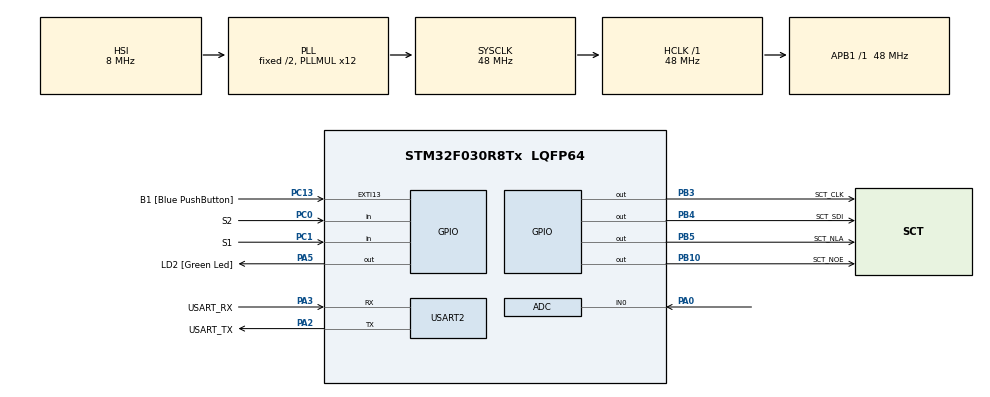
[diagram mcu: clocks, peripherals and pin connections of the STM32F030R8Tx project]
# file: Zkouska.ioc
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ADC.ContinuousConvMode=ENABLE
ADC.Overrun=ADC_OVR_DATA_OVERWRITTEN
ADC.SamplingTime=ADC_SAMPLETIME_239CYCLES_5
Mcu.Family=STM32F0
Mcu.Name=STM32F030R8Tx
Mcu.Package=LQFP64
NVIC.ADC1_IRQn=true\:0\:0\:false\:false\:true\:true\:true
PA0.Mode=IN0
PA0.Signal=ADC_IN0
PA13.GPIO_Label=TMS
PA13.Mode=Serial_Wire
PA13.Signal=SYS_SWDIO
PA14.GPIO_Label=TCK
PA14.Mode=Serial_Wire
PA14.Signal=SYS_SWCLK
PA2.GPIO_Label=USART_TX
PA2.GPIO_Mode=GPIO_MODE_AF_PP
PA2.GPIO_PuPd=GPIO_NOPULL
PA2.GPIO_Speed=GPIO_SPEED_FREQ_LOW
PA2.Mode=Asynchronous
PA2.Signal=USART2_TX
PA3.GPIO_Label=USART_RX
PA3.GPIO_Mode=GPIO_MODE_AF_PP
PA3.GPIO_PuPd=GPIO_NOPULL
PA3.GPIO_Speed=GPIO_SPEED_FREQ_LOW
PA3.Mode=Asynchronous
PA3.Signal=USART2_RX
PA5.GPIO_Label=LD2 [Green Led]
PA5.GPIO_Mode=GPIO_MODE_OUTPUT_PP
PA5.GPIO_PuPd=GPIO_NOPULL
PA5.GPIO_Speed=GPIO_SPEED_FREQ_LOW
PA5.Signal=GPIO_Output
PB10.GPIO_Label=SCT_NOE
PB10.Signal=GPIO_Output
PB3.GPIO_Label=SCT_CLK
PB3.Signal=GPIO_Output
PB4.GPIO_Label=SCT_SDI
PB4.Signal=GPIO_Output
PB5.GPIO_Label=SCT_NLA
PB5.Signal=GPIO_Output
PC0.GPIO_Label=S2
PC0.GPIO_PuPd=GPIO_PULLUP
PC0.Signal=GPIO_Input
PC1.GPIO_Label=S1
PC1.GPIO_PuPd=GPIO_PULLUP
PC1.Signal=GPIO_Input
PC13.GPIO_Label=B1 [Blue PushButton]
PC13.GPIO_ModeDefaultEXTI=GPIO_MODE_IT_FALLING
PC13.Signal=GPXTI13
PC14-OSC32_IN.Mode=LSE-External-Oscillator
PC14-OSC32_IN.Signal=RCC_OSC32_IN
PC15-OSC32_OUT.Mode=LSE-External-Oscillator
PC15-OSC32_OUT.Signal=RCC_OSC32_OUT
PF0-OSC_IN.Mode=HSE-External-Clock-Source
PF0-OSC_IN.Signal=RCC_OSC_IN
PF1-OSC_OUT.Signal=RCC_OSC_OUT
ProjectManager.HeapSize=0x200
ProjectManager.StackSize=0x400
ProjectManager.TargetToolchain=STM32CubeIDE
RCC.AHBFreq_Value=48000000
RCC.APB1Freq_Value=48000000
RCC.APB1TimFreq_Value=48000000
RCC.HCLKFreq_Value=48000000
RCC.PLLMUL=RCC_PLL_MUL12
RCC.SYSCLKFreq_VALUE=48000000
RCC.SYSCLKSource=RCC_SYSCLKSOURCE_PLLCLK
USART2.VirtualMode-Asynchronous=VM_ASYNC
board=NUCLEO-F030R8

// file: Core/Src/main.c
/* USER CODE BEGIN Header */
/**
  ******************************************************************************
  * @file           : main.c
  * @brief          : Main program body
  ******************************************************************************
  * @attention
  *
  * <h2><center>&copy; Copyright (c) 2022 STMicroelectronics.
  * All rights reserved.</center></h2>
  *
  * This software component is licensed by ST under BSD 3-Clause license,
  * the "License"; You may not use this file except in compliance with the
  * License. You may obtain a copy of the License at:
  *                        opensource.org/licenses/BSD-3-Clause
  *
  ******************************************************************************
  */
/* USER CODE END Header */
#include "main.h"

/* USER CODE BEGIN Includes */
#include "sct.h"

/* USER CODE END Includes */

ADC_HandleTypeDef hadc;

UART_HandleTypeDef huart2;

void SystemClock_Config(void);
static void MX_GPIO_Init(void);
static void MX_USART2_UART_Init(void);
static void MX_ADC_Init(void);

/* USER CODE BEGIN 0 */
static volatile uint32_t raw_pot;

void doprava()
{
	uint8_t bargraf = 0;
	uint32_t cislo=0;

	cislo=20+(raw_pot*(480+1))/4095;

	for(uint8_t i = 0; i < 9; i++)
	{
		sct_value(bargraf);
		HAL_Delay(cislo);

		bargraf++;
	}
}

void doleva()
{
	uint8_t bargraf = 9;
	uint32_t cislo=0;

	cislo=20+(raw_pot*(480+1))/4095;

	for(uint8_t i = 0; i < 9; i++)
	{
		sct_value(bargraf);
		HAL_Delay(cislo);

		bargraf--;
	}
}

static volatile uint32_t raw_pot;
void HAL_ADC_ConvCpltCallback(ADC_HandleTypeDef* hadc) // po prevodu vyvolany call back a zisk hodnoty
{
 raw_pot = HAL_ADC_GetValue(hadc);
}

/* USER CODE END 0 */

int main(void)
{

  /* MCU Configuration--------------------------------------------------------*/

  /* Reset of all peripherals, Initializes the Flash interface and the Systick. */
  HAL_Init();

  /* Configure the system clock */
  SystemClock_Config();

  /* Initialize all configured peripherals */
  MX_GPIO_Init();
  MX_USART2_UART_Init();
  MX_ADC_Init();
  /* USER CODE BEGIN 2 */

  sct_init();

  HAL_ADCEx_Calibration_Start(&hadc); // kalibrace
  HAL_ADC_Start_IT(&hadc); // volani preruseni po dokonceni prevodu

  /* USER CODE END 2 */

  /* Infinite loop */
  /* USER CODE BEGIN WHILE */
  while (1)
  {
	  static enum { DOPRAVA, DOLEVA} state = DOPRAVA;

	  if (HAL_GPIO_ReadPin(S1_GPIO_Port,S1_Pin)==0)
	  {

		  state = DOPRAVA;
	  }
	  else if (HAL_GPIO_ReadPin(S2_GPIO_Port,S2_Pin)==0)
	  {

		  state = DOLEVA;
	  }

	  if(state == DOPRAVA)
	  {
		  doprava();
	  }
	  else if(state == DOLEVA)
	  {
		  doleva();
	  }

    /* USER CODE END WHILE */

  }
}

void SystemClock_Config(void)
{
  RCC_OscInitTypeDef RCC_OscInitStruct = {0};
  RCC_ClkInitTypeDef RCC_ClkInitStruct = {0};

  /** Initializes the RCC Oscillators according to the specified parameters
  * in the RCC_OscInitTypeDef structure.
  */
  RCC_OscInitStruct.OscillatorType = RCC_OSCILLATORTYPE_HSI|RCC_OSCILLATORTYPE_HSI14;
  RCC_OscInitStruct.HSIState = RCC_HSI_ON;
  RCC_OscInitStruct.HSI14State = RCC_HSI14_ON;
  RCC_OscInitStruct.HSICalibrationValue = RCC_HSICALIBRATION_DEFAULT;
  RCC_OscInitStruct.HSI14CalibrationValue = 16;
  RCC_OscInitStruct.PLL.PLLState = RCC_PLL_ON;
  RCC_OscInitStruct.PLL.PLLSource = RCC_PLLSOURCE_HSI;
  RCC_OscInitStruct.PLL.PLLMUL = RCC_PLL_MUL12;
  RCC_OscInitStruct.PLL.PREDIV = RCC_PREDIV_DIV1;
  if (HAL_RCC_OscConfig(&RCC_OscInitStruct) != HAL_OK)
  {
    Error_Handler();
  }
  /** Initializes the CPU, AHB and APB buses clocks
  */
  RCC_ClkInitStruct.ClockType = RCC_CLOCKTYPE_HCLK|RCC_CLOCKTYPE_SYSCLK
                              |RCC_CLOCKTYPE_PCLK1;
  RCC_ClkInitStruct.SYSCLKSource = RCC_SYSCLKSOURCE_PLLCLK;
  RCC_ClkInitStruct.AHBCLKDivider = RCC_SYSCLK_DIV1;
  RCC_ClkInitStruct.APB1CLKDivider = RCC_HCLK_DIV1;

  if (HAL_RCC_ClockConfig(&RCC_ClkInitStruct, FLASH_LATENCY_1) != HAL_OK)
  {
    Error_Handler();
  }
}

static void MX_ADC_Init(void)
{

  ADC_ChannelConfTypeDef sConfig = {0};

  /** Configure the global features of the ADC (Clock, Resolution, Data Alignment and number of conversion)
  */
  hadc.Instance = ADC1;
  hadc.Init.ClockPrescaler = ADC_CLOCK_ASYNC_DIV1;
  hadc.Init.Resolution = ADC_RESOLUTION_12B;
  hadc.Init.DataAlign = ADC_DATAALIGN_RIGHT;
  hadc.Init.ScanConvMode = ADC_SCAN_DIRECTION_FORWARD;
  hadc.Init.EOCSelection = ADC_EOC_SINGLE_CONV;
  hadc.Init.LowPowerAutoWait = DISABLE;
  hadc.Init.LowPowerAutoPowerOff = DISABLE;
  hadc.Init.ContinuousConvMode = ENABLE;
  hadc.Init.DiscontinuousConvMode = DISABLE;
  hadc.Init.ExternalTrigConv = ADC_SOFTWARE_START;
  hadc.Init.ExternalTrigConvEdge = ADC_EXTERNALTRIGCONVEDGE_NONE;
  hadc.Init.DMAContinuousRequests = DISABLE;
  hadc.Init.Overrun = ADC_OVR_DATA_OVERWRITTEN;
  if (HAL_ADC_Init(&hadc) != HAL_OK)
  {
    Error_Handler();
  }
  /** Configure for the selected ADC regular channel to be converted.
  */
  sConfig.Channel = ADC_CHANNEL_0;
  sConfig.Rank = ADC_RANK_CHANNEL_NUMBER;
  sConfig.SamplingTime = ADC_SAMPLETIME_239CYCLES_5;
  if (HAL_ADC_ConfigChannel(&hadc, &sConfig) != HAL_OK)
  {
    Error_Handler();
  }

}

static void MX_USART2_UART_Init(void)
{

  huart2.Instance = USART2;
  huart2.Init.BaudRate = 38400;
  huart2.Init.WordLength = UART_WORDLENGTH_8B;
  huart2.Init.StopBits = UART_STOPBITS_1;
  huart2.Init.Parity = UART_PARITY_NONE;
  huart2.Init.Mode = UART_MODE_TX_RX;
  huart2.Init.HwFlowCtl = UART_HWCONTROL_NONE;
  huart2.Init.OverSampling = UART_OVERSAMPLING_16;
  huart2.Init.OneBitSampling = UART_ONE_BIT_SAMPLE_DISABLE;
  huart2.AdvancedInit.AdvFeatureInit = UART_ADVFEATURE_NO_INIT;
  if (HAL_UART_Init(&huart2) != HAL_OK)
  {
    Error_Handler();
  }

}

static void MX_GPIO_Init(void)
{
  GPIO_InitTypeDef GPIO_InitStruct = {0};

  /* GPIO Ports Clock Enable */
  __HAL_RCC_GPIOC_CLK_ENABLE();
  __HAL_RCC_GPIOF_CLK_ENABLE();
  __HAL_RCC_GPIOA_CLK_ENABLE();
  __HAL_RCC_GPIOB_CLK_ENABLE();

  /*Configure GPIO pin Output Level */
  HAL_GPIO_WritePin(LD2_GPIO_Port, LD2_Pin, GPIO_PIN_RESET);

  /*Configure GPIO pin Output Level */
  HAL_GPIO_WritePin(GPIOB, SCT_NOE_Pin|SCT_CLK_Pin|SCT_SDI_Pin|SCT_NLA_Pin, GPIO_PIN_RESET);

  /*Configure GPIO pin : B1_Pin */
  GPIO_InitStruct.Pin = B1_Pin;
  GPIO_InitStruct.Mode = GPIO_MODE_IT_FALLING;
  GPIO_InitStruct.Pull = GPIO_NOPULL;
  HAL_GPIO_Init(B1_GPIO_Port, &GPIO_InitStruct);

  /*Configure GPIO pins : S2_Pin S1_Pin */
  GPIO_InitStruct.Pin = S2_Pin|S1_Pin;
  GPIO_InitStruct.Mode = GPIO_MODE_INPUT;
  GPIO_InitStruct.Pull = GPIO_PULLUP;
  HAL_GPIO_Init(GPIOC, &GPIO_InitStruct);

  /*Configure GPIO pin : LD2_Pin */
  GPIO_InitStruct.Pin = LD2_Pin;
  GPIO_InitStruct.Mode = GPIO_MODE_OUTPUT_PP;
  GPIO_InitStruct.Pull = GPIO_NOPULL;
  GPIO_InitStruct.Speed = GPIO_SPEED_FREQ_LOW;
  HAL_GPIO_Init(LD2_GPIO_Port, &GPIO_InitStruct);

  /*Configure GPIO pins : SCT_NOE_Pin SCT_CLK_Pin SCT_SDI_Pin SCT_NLA_Pin */
  GPIO_InitStruct.Pin = SCT_NOE_Pin|SCT_CLK_Pin|SCT_SDI_Pin|SCT_NLA_Pin;
  GPIO_InitStruct.Mode = GPIO_MODE_OUTPUT_PP;
  GPIO_InitStruct.Pull = GPIO_NOPULL;
  GPIO_InitStruct.Speed = GPIO_SPEED_FREQ_LOW;
  HAL_GPIO_Init(GPIOB, &GPIO_InitStruct);

}

void Error_Handler(void)
{
  __disable_irq();
  while (1)
  {
  }
}

/************************ (C) COPYRIGHT STMicroelectronics *****END OF FILE****/
